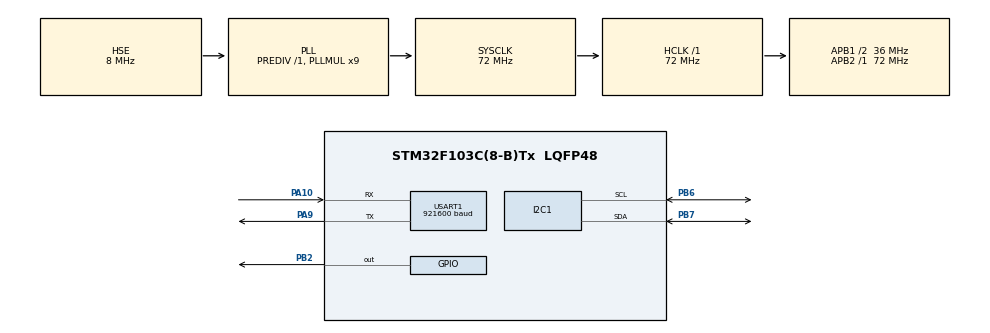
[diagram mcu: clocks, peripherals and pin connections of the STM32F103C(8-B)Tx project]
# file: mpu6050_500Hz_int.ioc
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Dma.Request0=USART1_TX
Dma.USART1_TX.0.Direction=DMA_MEMORY_TO_PERIPH
Dma.USART1_TX.0.Instance=DMA1_Channel4
Dma.USART1_TX.0.MemDataAlignment=DMA_MDATAALIGN_BYTE
Dma.USART1_TX.0.MemInc=DMA_MINC_ENABLE
Dma.USART1_TX.0.Mode=DMA_NORMAL
Dma.USART1_TX.0.PeriphDataAlignment=DMA_PDATAALIGN_BYTE
Dma.USART1_TX.0.PeriphInc=DMA_PINC_DISABLE
Dma.USART1_TX.0.Priority=DMA_PRIORITY_LOW
I2C1.DutyCycle=I2C_DUTYCYCLE_2
I2C1.I2C_Mode=I2C_Fast
Mcu.Family=STM32F1
Mcu.Name=STM32F103C(8-B)Tx
Mcu.Package=LQFP48
NVIC.DMA1_Channel4_IRQn=true\:0\:0\:false\:false\:true\:false\:true\:true
NVIC.I2C1_ER_IRQn=true\:0\:0\:false\:false\:true\:true\:true\:true
NVIC.I2C1_EV_IRQn=true\:0\:0\:false\:false\:true\:true\:true\:true
NVIC.PriorityGroup=NVIC_PRIORITYGROUP_4
NVIC.TIM4_IRQn=true\:0\:0\:false\:false\:true\:true\:true\:true
NVIC.USART1_IRQn=true\:0\:0\:false\:false\:true\:true\:true\:true
PA10.Mode=Asynchronous
PA10.Signal=USART1_RX
PA13.Mode=Serial_Wire
PA13.Signal=SYS_JTMS-SWDIO
PA14.Mode=Serial_Wire
PA14.Signal=SYS_JTCK-SWCLK
PA9.Mode=Asynchronous
PA9.Signal=USART1_TX
PB2.Signal=GPIO_Output
PB6.Mode=I2C
PB6.Signal=I2C1_SCL
PB7.Mode=I2C
PB7.Signal=I2C1_SDA
PD0-OSC_IN.Mode=HSE-External-Oscillator
PD0-OSC_IN.Signal=RCC_OSC_IN
PD1-OSC_OUT.Mode=HSE-External-Oscillator
PD1-OSC_OUT.Signal=RCC_OSC_OUT
ProjectManager.HeapSize=0x200
ProjectManager.StackSize=0x400
ProjectManager.TargetToolchain=STM32CubeIDE
RCC.AHBFreq_Value=72000000
RCC.APB1CLKDivider=RCC_HCLK_DIV2
RCC.APB1Freq_Value=36000000
RCC.APB1TimFreq_Value=72000000
RCC.APB2Freq_Value=72000000
RCC.APB2TimFreq_Value=72000000
RCC.HCLKFreq_Value=72000000
RCC.PLLMUL=RCC_PLL_MUL9
RCC.PLLSourceVirtual=RCC_PLLSOURCE_HSE
RCC.SYSCLKFreq_VALUE=72000000
RCC.SYSCLKSource=RCC_SYSCLKSOURCE_PLLCLK
RCC.USBFreq_Value=72000000
TIM4.AutoReloadPreload=TIM_AUTORELOAD_PRELOAD_ENABLE
TIM4.Period=1000
TIM4.Prescaler=71
TIM4.TIM_MasterOutputTrigger=TIM_TRGO_UPDATE
USART1.BaudRate=921600
USART1.VirtualMode=VM_ASYNC
VP_TIM4_VS_ClockSourceINT.Mode=Internal
board=custom

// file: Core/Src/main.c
/* USER CODE BEGIN Header */
/**
  ******************************************************************************
  * @file           : main.c
  * @brief          : Main program body
  ******************************************************************************
  * @attention
  *
  * Copyright (c) 2024 STMicroelectronics.
  * All rights reserved.
  *
  * This software is licensed under terms that can be found in the LICENSE file
  * in the root directory of this software component.
  * If no LICENSE file comes with this software, it is provided AS-IS.
  *
  ******************************************************************************
  */
/* USER CODE END Header */
#include "main.h"

I2C_HandleTypeDef hi2c1;

TIM_HandleTypeDef htim4;

UART_HandleTypeDef huart1;
DMA_HandleTypeDef hdma_usart1_tx;

void SystemClock_Config(void);
static void MX_GPIO_Init(void);
static void MX_DMA_Init(void);
static void MX_I2C1_Init(void);
static void MX_TIM4_Init(void);
static void MX_USART1_UART_Init(void);

/* USER CODE BEGIN 0 */

#include "mpu6050.h"
#include <stdio.h>
#include <string.h>
#include <stdbool.h>

#define BUFFER_SIZE                 (128)
#define THRESHOLD_VALUE_ACCEL_MAX   (16384)
#define THRESHOLD_VALUE_ACCEL_MIN   (-16384)

/* Буфер для отправки данных */
char bufferTx[BUFFER_SIZE] = {0};

/* Переменные для работы */
static volatile bool I2C_data_received = false; // данные по i2c были успешно получены
static MPU6050_t data = {0};
static uint8_t Rec_Data[16] = {0};
static uint8_t data_to_i2c = ACCEL_XOUT_H_REG; // команда, посылаемая для чтения всех данных
extern const double Accel_Z_corrector;

/* Обработка значений, вышедших за пределы измерения */
void Threshold_Processing(int16_t *value) {
  if (*(int16_t*)value > THRESHOLD_VALUE_ACCEL_MAX) {
    *(int16_t*)value = THRESHOLD_VALUE_ACCEL_MAX;
  } else if (*(int16_t*)value < THRESHOLD_VALUE_ACCEL_MIN) {
    *(int16_t*)value = THRESHOLD_VALUE_ACCEL_MIN;
  }
}

void HAL_I2C_MasterTxCpltCallback(I2C_HandleTypeDef *hi2c) {
	HAL_I2C_Master_Receive_IT(&hi2c1, MPU6050_ADDR, Rec_Data, 14);
}

void HAL_I2C_MasterRxCpltCallback(I2C_HandleTypeDef *hi2c) {
  /* Обработка полученных данных с mpu6050 */
  data.Accel_X_RAW 	= (int16_t)(Rec_Data[0] 	<< 8 | Rec_Data[1]);
  data.Accel_Y_RAW 	= (int16_t)(Rec_Data[2] 	<< 8 | Rec_Data[3]);
  data.Accel_Z_RAW 	= (int16_t)(Rec_Data[4] 	<< 8 | Rec_Data[5]);
  data.temp 			  = (int16_t)(Rec_Data[6] 	<< 8 | Rec_Data[7]);
  data.Gyro_X_RAW 	= (int16_t)(Rec_Data[8] 	<< 8 | Rec_Data[9]);
  data.Gyro_Y_RAW 	= (int16_t)(Rec_Data[10] 	<< 8 | Rec_Data[11]);
  data.Gyro_Z_RAW 	= (int16_t)(Rec_Data[12] 	<< 8 | Rec_Data[13]);

  Threshold_Processing(&data.Accel_X_RAW);
  Threshold_Processing(&data.Accel_Y_RAW);
  Threshold_Processing(&data.Accel_Z_RAW);

	I2C_data_received = true;
}

/* Заполнение буфера отправки сообщения полезными данными */
void convert(char *str, volatile uint32_t *timestamp) {
  int len = 0;
  len += snprintf(str + len, BUFFER_SIZE - len, ";;;");

  /* timestamp используется для отладки скорости передачи */
  if (timestamp != NULL) {
    len += snprintf(str + len, BUFFER_SIZE - len, "%lu ", *(uint32_t*)timestamp);
  }

  len += snprintf(str + len, BUFFER_SIZE - len, "%d %d %d %d %d %d %d\r\n",
                  data.Accel_X_RAW, data.Accel_Y_RAW, data.Accel_Z_RAW,
                  data.Gyro_X_RAW, data.Gyro_Y_RAW, data.Gyro_Z_RAW, data.temp);
}

void HAL_TIM_PeriodElapsedCallback(TIM_HandleTypeDef *htim) {
	if (htim->Instance == TIM4 && I2C_data_received) {
    convert(bufferTx, NULL);
    HAL_UART_Transmit_DMA(&huart1, (uint8_t*)bufferTx, strlen(bufferTx));
    HAL_I2C_Master_Transmit_IT(&hi2c1, MPU6050_ADDR, &data_to_i2c, 1);
    I2C_data_received = false;
	}
}

/* USER CODE END 0 */

int main(void)
{

  /* MCU Configuration--------------------------------------------------------*/

  /* Reset of all peripherals, Initializes the Flash interface and the Systick. */
  HAL_Init();

  /* Configure the system clock */
  SystemClock_Config();

  /* Initialize all configured peripherals */
  MX_GPIO_Init();
  MX_DMA_Init();
  MX_I2C1_Init();
  MX_TIM4_Init();
  MX_USART1_UART_Init();
  /* USER CODE BEGIN 2 */

  MPU6050_Init(&hi2c1);
  HAL_TIM_Base_Start_IT(&htim4);
  HAL_I2C_Master_Transmit_IT(&hi2c1, MPU6050_ADDR, &data_to_i2c, 1);

  /* USER CODE END 2 */

  /* Infinite loop */
  while (1)
  {

  }
}

void SystemClock_Config(void)
{
  RCC_OscInitTypeDef RCC_OscInitStruct = {0};
  RCC_ClkInitTypeDef RCC_ClkInitStruct = {0};

  /** Initializes the RCC Oscillators according to the specified parameters
  * in the RCC_OscInitTypeDef structure.
  */
  RCC_OscInitStruct.OscillatorType = RCC_OSCILLATORTYPE_HSE;
  RCC_OscInitStruct.HSEState = RCC_HSE_ON;
  RCC_OscInitStruct.HSEPredivValue = RCC_HSE_PREDIV_DIV1;
  RCC_OscInitStruct.HSIState = RCC_HSI_ON;
  RCC_OscInitStruct.PLL.PLLState = RCC_PLL_ON;
  RCC_OscInitStruct.PLL.PLLSource = RCC_PLLSOURCE_HSE;
  RCC_OscInitStruct.PLL.PLLMUL = RCC_PLL_MUL9;
  if (HAL_RCC_OscConfig(&RCC_OscInitStruct) != HAL_OK)
  {
    Error_Handler();
  }

  /** Initializes the CPU, AHB and APB buses clocks
  */
  RCC_ClkInitStruct.ClockType = RCC_CLOCKTYPE_HCLK|RCC_CLOCKTYPE_SYSCLK
                              |RCC_CLOCKTYPE_PCLK1|RCC_CLOCKTYPE_PCLK2;
  RCC_ClkInitStruct.SYSCLKSource = RCC_SYSCLKSOURCE_PLLCLK;
  RCC_ClkInitStruct.AHBCLKDivider = RCC_SYSCLK_DIV1;
  RCC_ClkInitStruct.APB1CLKDivider = RCC_HCLK_DIV2;
  RCC_ClkInitStruct.APB2CLKDivider = RCC_HCLK_DIV1;

  if (HAL_RCC_ClockConfig(&RCC_ClkInitStruct, FLASH_LATENCY_2) != HAL_OK)
  {
    Error_Handler();
  }
}

static void MX_I2C1_Init(void)
{

  hi2c1.Instance = I2C1;
  hi2c1.Init.ClockSpeed = 400000;
  hi2c1.Init.DutyCycle = I2C_DUTYCYCLE_2;
  hi2c1.Init.OwnAddress1 = 0;
  hi2c1.Init.AddressingMode = I2C_ADDRESSINGMODE_7BIT;
  hi2c1.Init.DualAddressMode = I2C_DUALADDRESS_DISABLE;
  hi2c1.Init.OwnAddress2 = 0;
  hi2c1.Init.GeneralCallMode = I2C_GENERALCALL_DISABLE;
  hi2c1.Init.NoStretchMode = I2C_NOSTRETCH_DISABLE;
  if (HAL_I2C_Init(&hi2c1) != HAL_OK)
  {
    Error_Handler();
  }

}

static void MX_TIM4_Init(void)
{

  TIM_ClockConfigTypeDef sClockSourceConfig = {0};
  TIM_MasterConfigTypeDef sMasterConfig = {0};

  htim4.Instance = TIM4;
  htim4.Init.Prescaler = 71;
  htim4.Init.CounterMode = TIM_COUNTERMODE_UP;
  htim4.Init.Period = 1000;
  htim4.Init.ClockDivision = TIM_CLOCKDIVISION_DIV1;
  htim4.Init.AutoReloadPreload = TIM_AUTORELOAD_PRELOAD_ENABLE;
  if (HAL_TIM_Base_Init(&htim4) != HAL_OK)
  {
    Error_Handler();
  }
  sClockSourceConfig.ClockSource = TIM_CLOCKSOURCE_INTERNAL;
  if (HAL_TIM_ConfigClockSource(&htim4, &sClockSourceConfig) != HAL_OK)
  {
    Error_Handler();
  }
  sMasterConfig.MasterOutputTrigger = TIM_TRGO_UPDATE;
  sMasterConfig.MasterSlaveMode = TIM_MASTERSLAVEMODE_DISABLE;
  if (HAL_TIMEx_MasterConfigSynchronization(&htim4, &sMasterConfig) != HAL_OK)
  {
    Error_Handler();
  }

}

static void MX_USART1_UART_Init(void)
{

  huart1.Instance = USART1;
  huart1.Init.BaudRate = 921600;
  huart1.Init.WordLength = UART_WORDLENGTH_8B;
  huart1.Init.StopBits = UART_STOPBITS_1;
  huart1.Init.Parity = UART_PARITY_NONE;
  huart1.Init.Mode = UART_MODE_TX_RX;
  huart1.Init.HwFlowCtl = UART_HWCONTROL_NONE;
  huart1.Init.OverSampling = UART_OVERSAMPLING_16;
  if (HAL_UART_Init(&huart1) != HAL_OK)
  {
    Error_Handler();
  }

}

static void MX_DMA_Init(void)
{

  /* DMA controller clock enable */
  __HAL_RCC_DMA1_CLK_ENABLE();

  /* DMA interrupt init */
  /* DMA1_Channel4_IRQn interrupt configuration */
  HAL_NVIC_SetPriority(DMA1_Channel4_IRQn, 0, 0);
  HAL_NVIC_EnableIRQ(DMA1_Channel4_IRQn);

}

static void MX_GPIO_Init(void)
{
  GPIO_InitTypeDef GPIO_InitStruct = {0};

  /* GPIO Ports Clock Enable */
  __HAL_RCC_GPIOD_CLK_ENABLE();
  __HAL_RCC_GPIOB_CLK_ENABLE();
  __HAL_RCC_GPIOA_CLK_ENABLE();

  /*Configure GPIO pin Output Level */
  HAL_GPIO_WritePin(GPIOB, GPIO_PIN_2, GPIO_PIN_RESET);

  /*Configure GPIO pin : PB2 */
  GPIO_InitStruct.Pin = GPIO_PIN_2;
  GPIO_InitStruct.Mode = GPIO_MODE_OUTPUT_PP;
  GPIO_InitStruct.Pull = GPIO_NOPULL;
  GPIO_InitStruct.Speed = GPIO_SPEED_FREQ_LOW;
  HAL_GPIO_Init(GPIOB, &GPIO_InitStruct);

}

void Error_Handler(void)
{
  __disable_irq();
  while (1)
  {
  }
}
